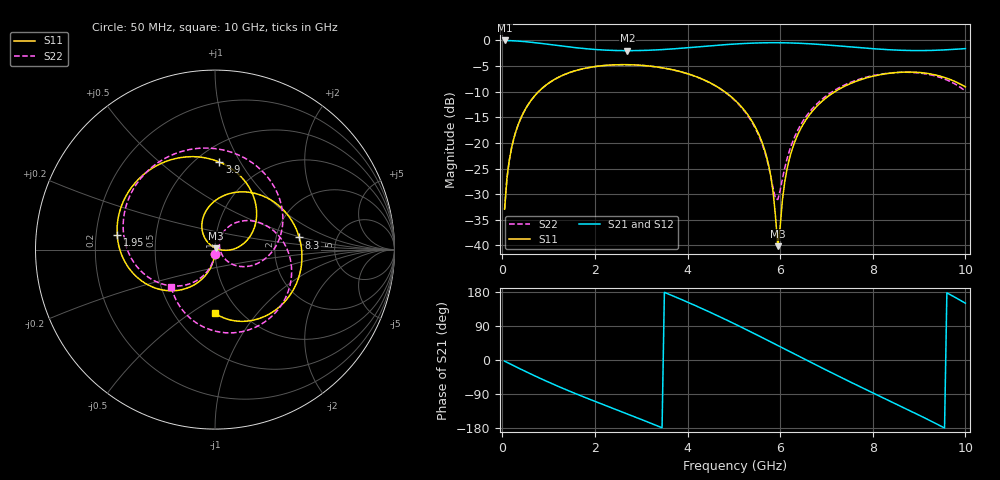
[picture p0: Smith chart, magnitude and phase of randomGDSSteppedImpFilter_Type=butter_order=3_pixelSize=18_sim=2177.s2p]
! freq	dB(S11)	phase(S11)	dB(S12)	phase(S12)
!  dB(S21)	phase(S21)	dB(S22)	phase(S22)
!S-par simulation data
#  GHz  S  DB  R 50
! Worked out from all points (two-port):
!   200 points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, 50 MHz to 10 GHz, reference 50 ohm
!   highest |S21| = -0.01 dB at 50 MHz (marker M1); lowest = -2.0 dB at 2.7 GHz (marker M2)
!   |S21| within 3 dB of the highest: start of sweep to end of sweep
!   lowest |S11| = -40.2 dB at 5.95 GHz (marker M3), VSWR 1.02, Z = 50.6 + j0.797 ohm
!   |S11| at or under -10 dB: start of sweep to 783.3 MHz; 4.802 GHz to 7.183 GHz (2.38 GHz wide, 39.7 % of centre)
!   |S22| runs from -32.9 to -4.7 dB; largest |S21 - S12| = 0
!   S11 on the Smith chart (normalised r, x): 50 MHz: 1.00, -0.04; 1.95 GHz: 0.29, +0.07; 3.9 GHz: 0.64, +0.82; 8.3 GHz: 2.71, +0.47; 10 GHz: 0.78, -0.62
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0.05  -32.94 -92.8  -0.01 -3.1  -0.01 -3.1  -32.94 -93.3
0.2  -20.99 -101.7  -0.05 -12.2  -0.05 -12.2  -20.99 -103.4
0.5  -13.39 -118.6  -0.25 -30.2  -0.25 -30.2  -13.39 -122.8
1.1  -7.76 -149.8  -0.88 -63.9  -0.88 -63.9  -7.76 -159.1
1.75  -5.51 -180.0  -1.57 -97.0  -1.57 -97.0  -5.51 164.8
1.95  -5.17 171.3  -1.73 -106.7  -1.73 -106.7  -5.17 154.2
2.7  -4.74 139.6  -2.00 -142.4  -2.00 -142.4  -4.74 114.9
3.4  -5.26 109.7  -1.82 -176.4  -1.82 -176.4  -5.27 77.4
3.9  -6.22 87.2  -1.50 158.0  -1.50 158.0  -6.24 49.4
4.45  -8.10 60.8  -1.09 128.1  -1.09 128.1  -8.13 17.5
5.05  -11.87 30.0  -0.68 93.4  -0.68 93.4  -11.97 -17.5
5.7  -22.46 -2.4  -0.45 53.8  -0.45 53.8  -22.78 -42.8
5.85  -29.75 -2.2  -0.44 44.5  -0.44 44.5  -28.94 -24.4
5.95  -40.15 53.3  -0.45 38.3  -0.45 38.3  -31.04 22.6
6.1  -27.55 134.6  -0.46 28.9  -0.46 28.9  -24.86 62.0
6.2  -23.09 133.4  -0.48 22.7  -0.48 22.7  -21.54 65.3
6.7  -13.77 107.0  -0.69 -8.4  -0.69 -8.4  -13.26 47.0
7.5  -8.49 57.6  -1.25 -57.1  -1.25 -57.1  -8.26 5.3
8.3  -6.48 8.2  -1.79 -104.3  -1.79 -104.3  -6.42 -35.5
8.35  -6.42 5.1  -1.82 -107.2  -1.82 -107.2  -6.37 -38.1
9.25  -6.55 -49.1  -1.95 -160.7  -1.95 -160.7  -6.72 -86.0
10  -9.06 -90.4  -1.60 149.9  -1.60 149.9  -9.88 -139.4
